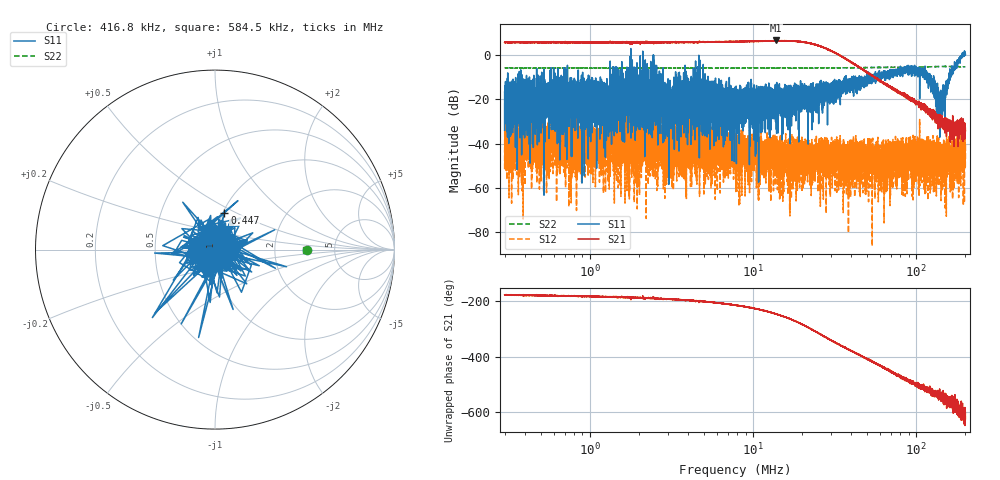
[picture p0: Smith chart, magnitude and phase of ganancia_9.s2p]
# Hz S DB R 50
! CMT, M5065, 19127446, 24.2.4/2
! Date: 11/1/2024 4:19:18 PM
! Data: Format (Calibration Info)
! Freq	S11:dB/Ang(F2)	S21:dB/Ang(F2)	S12:dB/Ang(F2)	S22:dB/Ang(F2)
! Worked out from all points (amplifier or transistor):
!   9000 points, 300 kHz to 200 MHz, reference 50 ohm
!   highest |S21| = 6.6 dB at 13.8 MHz (marker M1)
!   |S21| within 3 dB of that: start of sweep to 26.36 MHz (the widest 1 of 4)
!   unconditionally stable (mu >= 1): start of sweep to 1.763 MHz; 2.445 MHz to 190.9 MHz; 191.0683 MHz to 191.5463 MHz (the widest 3 of 19)
!   at 886.8 kHz: K = 20.44, MAG = 7.0 dB, |S12| = -40.6 dB
!   at 7.749 MHz: K = 13.26, MAG = 7.3 dB, |S12| = -37.1 dB
!   at 200 MHz: K = -246.62, MSG = 6.5 dB, |S12| = -47.0 dB
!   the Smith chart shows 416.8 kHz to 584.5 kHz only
!   S11 on the Smith chart (normalised r, x): 416.8 kHz: 0.90, -0.18; 447 kHz: 1.02, +0.44; 584.5 kHz: 0.91, +0.23
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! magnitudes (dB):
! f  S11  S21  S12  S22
! 300 kHz  -33.9  5.6  -51.4  -5.9
! 313.1 kHz  -21.3  5.6  -49.3  -5.9
! 372.3 kHz  -23.0  5.7  -49.2  -5.9
! 416.8 kHz  -19.1  5.7  -40.1  -5.8
! 447 kHz  -13.4  5.6  -39.7  -5.9
! 584.5 kHz  -17.8  5.7  -42.9  -5.9
! 886.8 kHz  -20.1  5.7  -40.6  -5.9
! 1.567 MHz  -3.0  5.9  -43.8  -5.9
! 1.817 MHz  -2.2  4.9  -48.7  -5.9
! 2.621 MHz  -17.8  5.8  -43.8  -5.9
! 7.749 MHz  -32.9  6.0  -37.1  -5.8
! 13.8 MHz  -13.3  6.6  -37.8  -5.8
! 22.91 MHz  -13.0  5.2  -38.1  -5.9
! 24.8 MHz  -23.1  4.2  -46.1  -5.8
! 38.29 MHz  -11.9  -2.6  -40.4  -5.8
! 67.71 MHz  -8.8  -13.6  -48.2  -5.6
! 111.6 MHz  -8.7  -23.2  -46.8  -5.4
! 126.9 MHz  -10.7  -28.4  -44.6  -5.3
! 141.1 MHz  -27.4  -29.7  -47.2  -5.2
! 165.3 MHz  -6.4  -38.3  -48.5  -5.2
! 174.7 MHz  -5.8  -30.6  -54.3  -5.2
! 200 MHz  0.3  -34.1  -47.0  -5.3
